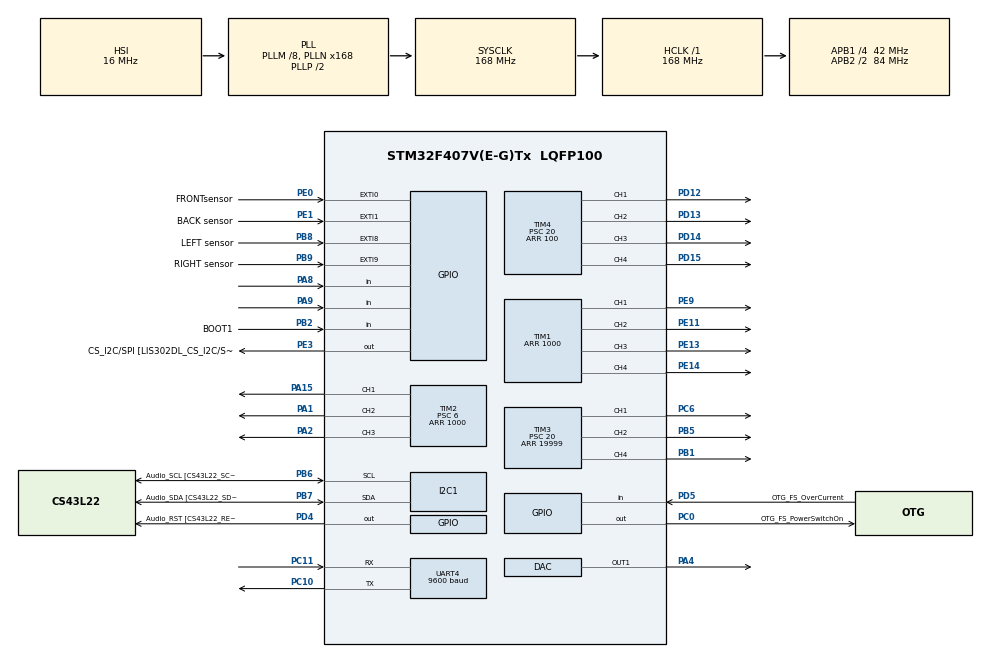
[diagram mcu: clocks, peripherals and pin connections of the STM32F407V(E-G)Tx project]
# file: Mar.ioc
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DAC.DAC_Trigger=DAC_TRIGGER_T6_TRGO
Mcu.Family=STM32F4
Mcu.Name=STM32F407V(E-G)Tx
Mcu.Package=LQFP100
NVIC.EXTI0_IRQn=true\:0\:12\:true\:true\:true\:1\:true
NVIC.EXTI1_IRQn=true\:0\:0\:false\:true\:true\:4\:true
NVIC.EXTI9_5_IRQn=true\:0\:12\:false\:true\:true\:2\:true
NVIC.PriorityGroup=NVIC_PRIORITYGROUP_0
NVIC.TIM1_UP_TIM10_IRQn=true\:0\:0\:false\:false\:true\:true
NVIC.TIM5_IRQn=true\:0\:8\:true\:true\:true\:3\:true
NVIC.TIM6_DAC_IRQn=true\:0\:0\:false\:false\:true\:true
NVIC.TIM7_IRQn=true\:0\:0\:false\:false\:true\:true
PA1.Signal=S_TIM2_CH2
PA10.GPIO_Label=OTG_FS_ID
PA10.GPIO_Mode=GPIO_MODE_AF_PP
PA10.GPIO_PuPd=GPIO_NOPULL
PA10.GPIO_Speed=GPIO_SPEED_FREQ_LOW
PA10.Signal=USB_OTG_FS_ID
PA11.GPIO_Label=OTG_FS_DM
PA11.GPIO_Mode=GPIO_MODE_AF_PP
PA11.GPIO_PuPd=GPIO_NOPULL
PA11.GPIO_Speed=GPIO_SPEED_FREQ_LOW
PA11.Signal=USB_OTG_FS_DM
PA12.GPIO_Label=OTG_FS_DP
PA12.GPIO_Mode=GPIO_MODE_AF_PP
PA12.GPIO_PuPd=GPIO_NOPULL
PA12.GPIO_Speed=GPIO_SPEED_FREQ_LOW
PA12.Signal=USB_OTG_FS_DP
PA13.GPIO_Label=SWDIO
PA13.Signal=SYS_JTMS-SWDIO
PA14.GPIO_Label=SWCLK
PA14.Signal=SYS_JTCK-SWCLK
PA15.Signal=S_TIM2_CH1_ETR
PA2.Signal=S_TIM2_CH3
PA4.Signal=COMP_DAC1_group
PA5.GPIO_Label=SPI1_SCK [LIS302DL_SCL/SPC]
PA5.GPIO_Mode=GPIO_MODE_AF_PP
PA5.GPIO_PuPd=GPIO_NOPULL
PA5.GPIO_Speed=GPIO_SPEED_FREQ_LOW
PA5.Signal=SPI1_SCK
PA6.GPIO_Label=SPI1_MISO [LIS302DL_SDO]
PA6.GPIO_Mode=GPIO_MODE_AF_PP
PA6.GPIO_PuPd=GPIO_NOPULL
PA6.GPIO_Speed=GPIO_SPEED_FREQ_LOW
PA6.Signal=SPI1_MISO
PA7.GPIO_Label=SPI1_MOSI [LIS302DL_SDA/SDI/SDO]
PA7.GPIO_Mode=GPIO_MODE_AF_PP
PA7.GPIO_PuPd=GPIO_NOPULL
PA7.GPIO_Speed=GPIO_SPEED_FREQ_LOW
PA7.Signal=SPI1_MOSI
PA8.GPIO_PuPd=GPIO_PULLDOWN
PA8.Signal=GPIO_Input
PA9.Signal=GPIO_Input
PB1.Signal=S_TIM3_CH4
PB10.GPIO_Label=CLK_IN [MP45DT02_CLK]
PB10.GPIO_Mode=GPIO_MODE_AF_PP
PB10.GPIO_PuPd=GPIO_NOPULL
PB10.GPIO_Speed=GPIO_SPEED_FREQ_LOW
PB10.Signal=I2S2_CK
PB2.GPIO_Label=BOOT1
PB2.GPIO_Mode=GPIO_MODE_INPUT
PB2.GPIO_PuPd=GPIO_NOPULL
PB2.Signal=GPIO_Input
PB5.Signal=S_TIM3_CH2
PB6.GPIO_Label=Audio_SCL [CS43L22_SCL]
PB6.GPIO_Mode=GPIO_MODE_AF_OD
PB6.GPIO_PuPd=GPIO_NOPULL
PB6.GPIO_Speed=GPIO_SPEED_FREQ_HIGH
PB6.Mode=I2C
PB6.Signal=I2C1_SCL
PB7.GPIO_Label=Audio_SDA [CS43L22_SDA]
PB7.GPIO_Mode=GPIO_MODE_AF_OD
PB7.GPIO_Speed=GPIO_SPEED_FREQ_HIGH
PB7.Mode=I2C
PB7.Signal=I2C1_SDA
PB8.GPIO_Label=LEFT sensor
PB8.GPIO_ModeDefaultEXTI=GPIO_MODE_IT_FALLING
PB8.GPIO_PuPd=GPIO_PULLUP
PB8.Signal=GPXTI8
PB9.GPIO_Label=RIGHT sensor
PB9.GPIO_ModeDefaultEXTI=GPIO_MODE_IT_FALLING
PB9.GPIO_PuPd=GPIO_PULLUP
PB9.Signal=GPXTI9
PC0.GPIO_Label=OTG_FS_PowerSwitchOn
PC0.GPIO_PuPd=GPIO_NOPULL
PC0.GPIO_Speed=GPIO_SPEED_FREQ_LOW
PC0.PinState=GPIO_PIN_SET
PC0.Signal=GPIO_Output
PC10.Mode=Asynchronous
PC10.Signal=UART4_TX
PC11.Mode=Asynchronous
PC11.Signal=UART4_RX
PC12.Signal=UART5_TX
PC14-OSC32_IN.GPIO_Label=PC14-OSC32_IN
PC14-OSC32_IN.Signal=RCC_OSC32_IN
PC15-OSC32_OUT.GPIO_Label=PC15-OSC32_OUT
PC15-OSC32_OUT.Signal=RCC_OSC32_OUT
PC3.GPIO_Label=PDM_OUT [MP45DT02_DOUT]
PC3.GPIO_Mode=GPIO_MODE_AF_PP
PC3.GPIO_PuPd=GPIO_NOPULL
PC3.GPIO_Speed=GPIO_SPEED_FREQ_LOW
PC3.Signal=I2S2_SD
PC6.Signal=S_TIM3_CH1
PC7.GPIO_Label=I2S3_MCK [CS43L22_MCLK]
PC7.GPIO_Mode=GPIO_MODE_AF_PP
PC7.GPIO_PuPd=GPIO_NOPULL
PC7.GPIO_Speed=GPIO_SPEED_FREQ_LOW
PC7.Signal=I2S3_MCK
PD12.Signal=S_TIM4_CH1
PD13.Signal=S_TIM4_CH2
PD14.Signal=S_TIM4_CH3
PD15.Signal=S_TIM4_CH4
PD4.GPIO_Label=Audio_RST [CS43L22_RESET]
PD4.GPIO_PuPd=GPIO_NOPULL
PD4.GPIO_Speed=GPIO_SPEED_FREQ_LOW
PD4.Signal=GPIO_Output
PD5.GPIO_Label=OTG_FS_OverCurrent
PD5.GPIO_Mode=GPIO_MODE_INPUT
PD5.GPIO_PuPd=GPIO_NOPULL
PD5.Signal=GPIO_Input
PE0.GPIO_Label=FRONTsensor
PE0.GPIO_ModeDefaultEXTI=GPIO_MODE_IT_FALLING
PE0.GPIO_PuPd=GPIO_PULLUP
PE0.Signal=GPXTI0
PE1.GPIO_Label=BACK sensor
PE1.GPIO_ModeDefaultEXTI=GPIO_MODE_IT_FALLING
PE1.GPIO_PuPd=GPIO_PULLUP
PE1.Signal=GPXTI1
PE11.Signal=S_TIM1_CH2
PE13.Signal=S_TIM1_CH3
PE14.Signal=S_TIM1_CH4
PE3.GPIO_Label=CS_I2C/SPI [LIS302DL_CS_I2C/SPI]
PE3.GPIO_PuPd=GPIO_NOPULL
PE3.GPIO_Speed=GPIO_SPEED_FREQ_LOW
PE3.Signal=GPIO_Output
PE9.Signal=S_TIM1_CH1
PH0-OSC_IN.GPIO_Label=PH0-OSC_IN
PH0-OSC_IN.Signal=RCC_OSC_IN
PH1-OSC_OUT.GPIO_Label=PH1-OSC_OUT
PH1-OSC_OUT.Signal=RCC_OSC_OUT
ProjectManager.HeapSize=0x200
ProjectManager.StackSize=0x400
ProjectManager.TargetToolchain=SW4STM32
RCC.48MHZClocksFreq_Value=48000000
RCC.AHBFreq_Value=168000000
RCC.APB1CLKDivider=RCC_HCLK_DIV4
RCC.APB1Freq_Value=42000000
RCC.APB1TimFreq_Value=84000000
RCC.APB2CLKDivider=RCC_HCLK_DIV2
RCC.APB2Freq_Value=84000000
RCC.APB2TimFreq_Value=168000000
RCC.CortexFreq_Value=168000000
RCC.HCLKFreq_Value=168000000
RCC.HSE_VALUE=8000000
RCC.HSI_VALUE=16000000
RCC.LSE_VALUE=32768
RCC.PLLM=8
RCC.PLLN=168
RCC.PLLQ=7
RCC.SYSCLKFreq_VALUE=168000000
RCC.SYSCLKSource=RCC_SYSCLKSOURCE_PLLCLK
RCC.VCOOutputFreq_Value=336000000
SH.COMP_DAC1_group.0=DAC_OUT1,DAC_OUT1
SH.S_TIM1_CH1.0=TIM1_CH1,PWM Generation1 CH1
SH.S_TIM1_CH2.0=TIM1_CH2,PWM Generation2 CH2
SH.S_TIM1_CH3.0=TIM1_CH3,PWM Generation3 CH3
SH.S_TIM1_CH4.0=TIM1_CH4,PWM Generation4 CH4
SH.S_TIM2_CH1_ETR.0=TIM2_CH1,PWM Generation1 CH1
SH.S_TIM2_CH2.0=TIM2_CH2,PWM Generation2 CH2
SH.S_TIM2_CH3.0=TIM2_CH3,PWM Generation3 CH3
SH.S_TIM3_CH1.0=TIM3_CH1,PWM Generation1 CH1
SH.S_TIM3_CH2.0=TIM3_CH2,PWM Generation2 CH2
SH.S_TIM3_CH4.0=TIM3_CH4,PWM Generation4 CH4
SH.S_TIM4_CH1.0=TIM4_CH1,PWM Generation1 CH1
SH.S_TIM4_CH2.0=TIM4_CH2,PWM Generation2 CH2
SH.S_TIM4_CH3.0=TIM4_CH3,PWM Generation3 CH3
SH.S_TIM4_CH4.0=TIM4_CH4,PWM Generation4 CH4
TIM1.Channel-PWM\ Generation1\ CH1=TIM_CHANNEL_1
TIM1.Channel-PWM\ Generation2\ CH2=TIM_CHANNEL_2
TIM1.Channel-PWM\ Generation3\ CH3=TIM_CHANNEL_3
TIM1.Channel-PWM\ Generation4\ CH4=TIM_CHANNEL_4
TIM1.Period=1000
TIM10.Channel=TIM_CHANNEL_1
TIM10.Period=20999
TIM10.Prescaler=1999
TIM2.Channel-PWM\ Generation1\ CH1=TIM_CHANNEL_1
TIM2.Channel-PWM\ Generation2\ CH2=TIM_CHANNEL_2
TIM2.Channel-PWM\ Generation3\ CH3=TIM_CHANNEL_3
TIM2.ClockDivision=TIM_CLOCKDIVISION_DIV2
TIM2.Period=1000
TIM2.Prescaler=6
TIM3.Channel-PWM\ Generation1\ CH1=TIM_CHANNEL_1
TIM3.Channel-PWM\ Generation2\ CH2=TIM_CHANNEL_2
TIM3.Channel-PWM\ Generation4\ CH4=TIM_CHANNEL_4
TIM3.Period=19999
TIM3.Prescaler=20
TIM4.Channel-PWM\ Generation1\ CH1=TIM_CHANNEL_1
TIM4.Channel-PWM\ Generation2\ CH2=TIM_CHANNEL_2
TIM4.Channel-PWM\ Generation3\ CH3=TIM_CHANNEL_3
TIM4.Channel-PWM\ Generation4\ CH4=TIM_CHANNEL_4
TIM4.Period=100
TIM4.Prescaler=20
TIM5.Channel-Output\ Compare1\ No\ Output=TIM_CHANNEL_1
TIM5.Channel-Output\ Compare4\ No\ Output=TIM_CHANNEL_4
TIM5.OCMode_1=TIM_OCMODE_ACTIVE
TIM5.Period=100
TIM5.Prescaler=20
TIM5.Pulse-Output\ Compare1\ No\ Output=0
TIM6.Period=37
TIM6.Prescaler=99
TIM6.TIM_MasterOutputTrigger=TIM_TRGO_UPDATE
TIM7.Period=8399
TIM7.Prescaler=1999
TIM7.TIM_MasterOutputTrigger=TIM_TRGO_UPDATE
UART4.BaudRate=9600
UART4.VirtualMode=Asynchronous
VP_TIM10_VS_ClockSourceINT.Mode=Enable_Timer
VP_TIM10_VS_no_output1.Mode=Output Compare1 No Output
VP_TIM5_VS_ClockSourceINT.Mode=Internal
VP_TIM5_VS_no_output1.Mode=Output Compare1 No Output
VP_TIM5_VS_no_output4.Mode=Output Compare4 No Output
VP_TIM6_VS_ClockSourceINT.Mode=Enable_Timer
VP_TIM7_VS_ClockSourceINT.Mode=Enable_Timer
board=STM32F4DISCOVERY

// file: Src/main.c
/**
  ******************************************************************************
  * File Name          : main.c
  * Description        : Main program body
  ******************************************************************************
  ** This notice applies to any and all portions of this file
  * that are not between comment pairs USER CODE BEGIN and
  * USER CODE END. Other portions of this file, whether
  * inserted by the user or by software development tools
  * are owned by their respective copyright owners.
  *
  * COPYRIGHT(c) 2017 STMicroelectronics
  *
  * Redistribution and use in source and binary forms, with or without modification,
  * are permitted provided that the following conditions are met:
  *   1. Redistributions of source code must retain the above copyright notice,
  *      this list of conditions and the following disclaimer.
  *   2. Redistributions in binary form must reproduce the above copyright notice,
  *      this list of conditions and the following disclaimer in the documentation
  *      and/or other materials provided with the distribution.
  *   3. Neither the name of STMicroelectronics nor the names of its contributors
  *      may be used to endorse or promote products derived from this software
  *      without specific prior written permission.
  *
  * THIS SOFTWARE IS PROVIDED BY THE COPYRIGHT HOLDERS AND CONTRIBUTORS "AS IS"
  * AND ANY EXPRESS OR IMPLIED WARRANTIES, INCLUDING, BUT NOT LIMITED TO, THE
  * IMPLIED WARRANTIES OF MERCHANTABILITY AND FITNESS FOR A PARTICULAR PURPOSE ARE
  * DISCLAIMED. IN NO EVENT SHALL THE COPYRIGHT HOLDER OR CONTRIBUTORS BE LIABLE
  * FOR ANY DIRECT, INDIRECT, INCIDENTAL, SPECIAL, EXEMPLARY, OR CONSEQUENTIAL
  * DAMAGES (INCLUDING, BUT NOT LIMITED TO, PROCUREMENT OF SUBSTITUTE GOODS OR
  * SERVICES; LOSS OF USE, DATA, OR PROFITS; OR BUSINESS INTERRUPTION) HOWEVER
  * CAUSED AND ON ANY THEORY OF LIABILITY, WHETHER IN CONTRACT, STRICT LIABILITY,
  * OR TORT (INCLUDING NEGLIGENCE OR OTHERWISE) ARISING IN ANY WAY OUT OF THE USE
  * OF THIS SOFTWARE, EVEN IF ADVISED OF THE POSSIBILITY OF SUCH DAMAGE.
  *
  ******************************************************************************
  */
#include "main.h"
#include "stm32f4xx_hal.h"

/* USER CODE BEGIN Includes */
#include "string.h"
#include "Losing_1_Notes_8bit.h"
#include "Losing_2_Notes_8bit.h"
#include "Winner_Notes_8bit.h"
#include "Shoot_2_Notes_8bit.h"
#define DATA_SIZE  83225
#define DATA1_SIZE 59806
#define DATA2_SIZE 133964
#define DATA3_SIZE 9792

/* USER CODE END Includes */

DAC_HandleTypeDef hdac;

I2C_HandleTypeDef hi2c1;

TIM_HandleTypeDef htim1;
TIM_HandleTypeDef htim2;
TIM_HandleTypeDef htim3;
TIM_HandleTypeDef htim4;
TIM_HandleTypeDef htim5;
TIM_HandleTypeDef htim6;
TIM_HandleTypeDef htim7;
TIM_HandleTypeDef htim10;

UART_HandleTypeDef huart4;

/* USER CODE BEGIN PV */
/* Private variables ---------------------------------------------------------*/

int h= 50;  // global health
int i1 = 0; // global counter for hit registered
int gamerun = 1;
char health[4] ;
int LED_on = 0;
int LED_counter = 0;
int value = 0;
extern uint8_t data[DATA_SIZE];
extern uint8_t data1[DATA1_SIZE];
extern uint8_t data2[DATA2_SIZE];
extern uint8_t data3[DATA3_SIZE];
long j = 0; //counter for audio file data
long j_one = 0; //counter for audio file data1
long j2 = 0; //counter for audio file data2
long j3 = 0; //counter for audio file data3
int speaker_flag = 0; //flag for the speaker
int winner = 0; //flag for winner or loser of the game
int k = 0;
int transmit_counter = 0;
/* USER CODE END PV */

void SystemClock_Config(void);
static void MX_GPIO_Init(void);
static void MX_TIM2_Init(void);
static void MX_TIM1_Init(void);
static void MX_TIM3_Init(void);
static void MX_TIM4_Init(void);
static void MX_DAC_Init(void);
static void MX_TIM5_Init(void);
static void MX_TIM6_Init(void);
static void MX_UART4_Init(void);
static void MX_I2C1_Init(void);
static void MX_TIM7_Init(void);
static void MX_TIM10_Init(void);
static void MX_NVIC_Init(void);

void HAL_TIM_MspPostInit(TIM_HandleTypeDef *htim);

/* USER CODE BEGIN PFP */
/* Private function prototypes -----------------------------------------------*/
void UartHandler(char[10]);

void motorroutine (int,int);
void turretroutine(int);
void shoot(int);
void endgame(int);
void hitregister(int);
void ledroutine(int);
void LCDroutine(int);
void speaker(int);
void start(void);
void rst(void);
void transmit(void);
void lcd_send_data (char data);
void lcd_init (void);
void lcd_send_string (char *str);
void lcd_send_cmd (char cmd);

/* USER CODE END PFP */

/* USER CODE BEGIN 0 */

void transmit (void){
    HAL_UART_Transmit(&huart4,(uint8_t *)health, 3,50);
    lcd_send_cmd (0x01);
    HAL_Delay(2);
    lcd_send_cmd (0x80);
  //  HAL_Delay(2);
    lcd_send_string ("MARIO");
   // HAL_Delay(2);
    lcd_send_cmd (0xc0);
                for(int b = 0;b < h/5 ; b++){

              lcd_send_data (0xff);
                    }
                lcd_send_cmd (0x94);
                for(int b = 0;b < h/5 ; b++){

                    lcd_send_data (0xff);
                    }

                      lcd_send_cmd (0xd4);
                      lcd_send_string (health);

}
// UART handler. Detect command and call functions for the various motions
void UartHandler(char data[10]){
    int angle;

    // forward
    if ( data[0] == 70 && data[1] == 49){
        motorroutine(1,1);

    }else  if ( data[0] == 70 && data[1] == 48){
        motorroutine(1,0);
// angle
    }else if ( data[0] == 65){
        int a1 = data[1] - 48;
        int a2 = data[2]- 48;
        int a3 = data[3]-48 ;
        angle = a1*100 + a2*10 + a3;
       if(angle < 180){
        turretroutine(angle);
       }else if( angle == 361){

           value = 0;
           endgame(value);
           speaker(2);
       }
// back
    }else if ( data[0] == 66 && data[1] == 49){
        motorroutine(2,1);
    }else if ( data[0] == 66 && data[1] == 48){
        motorroutine(2,0);
// left
    }else if ( data[0] == 76 && data[1] == 49){
        motorroutine(3,1);
    }else if ( data[0] == 76 && data[1] == 48){
        motorroutine(3,0);
 // right
    }else if ( data[0] == 82 && data[1] == 49){
        motorroutine(4,1);
    }else if ( data[0] == 82 && data[1] == 48){
        motorroutine(4,0);
// turret right

    }else if( data[0] == 84 && data [1]== 82 && data[2]== 49){
        angle -= 1;
        turretroutine(angle);
// Turret Left
    }else if( data[0] == 84 && data [1]== 76 && data[2]== 49){
        angle += 1;
        turretroutine(angle);
// Shoot
    }else if( data[0]== 83 && data[1] == 49){

        shoot(1);
    }else if(data[0] == 83 && data[1] == 48){
        shoot(0);
    }else if (data[0] ==83 && data[1] == 84 && data[2] == 49){
        start();
    }
    else if (data[0] ==82 && data[1] == 83 && data[2] == 84){
    rst();
}
}

// take two values ( direction / value) 1 - front 2-back 3-left 4-right
// timer channel 1 -4
/* left forward – pe9 – tim1ch1
    Left reverse pe11- tim1ch2
    Right forward pe13-tim1ch3
    Right reverse pe14- tim1ch4
 * MAX pulse = 1000
 */
void motorroutine(int direction, int value){
if (gamerun){
   if(direction == 1 && value == 1){
       htim1.Instance->CCR1 = 1000; // set timer1 channel 1 duty cycle to high
       htim1.Instance->CCR3 = 1000;

   }if(direction == 1 && value ==0){
       htim1.Instance->CCR1 = 0; // set timer1 channel 1 duty cycle to high
       htim1.Instance->CCR3 = 0;
   }

   if(direction == 2 && value == 1){
       htim1.Instance->CCR2 = 1000; // set timer1 channel 1 duty cycle to high
       htim1.Instance->CCR4 = 1000;

   }if(direction == 2 && value ==0){
       htim1.Instance->CCR2 = 0; // set timer1 channel 1 duty cycle to high
       htim1.Instance->CCR4 = 0;
   }
   if(direction == 3 && value == 1){
       htim1.Instance->CCR2 = 1000; // set timer1 channel 1 duty cycle to high
       htim1.Instance->CCR3 = 1000;

   }if(direction == 3 && value ==0){
       htim1.Instance->CCR2 = 0; // set timer1 channel 1 duty cycle to high
       htim1.Instance->CCR3 = 0;
   }
   if(direction == 4 && value == 1){
       htim1.Instance->CCR1 = 1000; // set timer1 channel 1 duty cycle to high
       htim1.Instance->CCR4 = 1000;

   }if(direction == 4 && value ==0){
       htim1.Instance->CCR1 = 0; // set timer1 channel 1 duty cycle to high
       htim1.Instance->CCR4 = 0;
   }
   if(direction == 1 && value == 1){
       htim1.Instance->CCR1 = 1000; // set timer1 channel 1 duty cycle to high
       htim1.Instance->CCR3 = 1000;

   }if(direction == 1 && value ==0){
       htim1.Instance->CCR1 = 0; // set timer1 channel 1 duty cycle to high
       htim1.Instance->CCR3 = 0;
   }
}
}
// Take angle value set PWM duty Cycle to the angle number
// MAX pulse = 360*5
// timer 3 ch1
void turretroutine(int angle){
    if(gamerun){

        TIM3->CCR4 = 20000 - (500 + angle*45);
}
}
// take value 1/0 to register hit set IR blaster and start game logic
//PB3 GPIO
//
void shoot(int value){
    if(value){
    TIM3->CCR2 = 10000;
    HAL_Delay (500);
    TIM3->CCR2 = 0;
}
}
// start engame routine
void endgame(int v){
if(v){
    gamerun = 0;
    winner = 0;
}
else{
    gamerun = 0;
    winner = 1;
}
HAL_TIM_Base_Start_IT(&htim10);
if(LED_counter >= 12){
    HAL_TIM_Base_Stop_IT(&htim10);
    LED_counter = 0;
}
}
// detect hit routine
void hitregister(int location){

       i1 += location;
       if(i1 > 25){
       h--;

       i1 =0;

       if(h < 0){
        h = 0;
       }

       }

}
// set LED pwm Channels based on health?
// timer 2 channel 1,2,3
// max pulse = 1000
// led reach max color by ~ 650
void ledroutine(int health){

    htim4.Instance->CCR1 = 1000 - 10*h;
    htim4.Instance->CCR2 = 10*h;
    htim4.Instance->CCR3 = 1000;
//

}
// Set LCD data to health
void lcd_send_cmd (char cmd)
{
  char data_u, data_l;
    uint8_t data_t[4];
    data_u = cmd&0xf0;
    data_l = (cmd<<4)&0xf0;
    data_t[0] = data_u|0x04;  //en=1, rs=0
    data_t[1] = data_u;  //en=0, rs=0
    data_t[2] = data_l|0x04;  //en=1, rs=0
    data_t[3] = data_l;  //en=0, rs=0
    HAL_I2C_Master_Transmit (&hi2c1, 0x4E,(uint8_t *) data_t, 4, 100);
}
void lcd_send_data (char data)
{
    char data_u, data_l;
    uint8_t data_t[4];
    data_u = data&0xf0;
    data_l = (data<<4)&0xf0;
    data_t[0] = data_u|0x05;  //en=1, rs=0
    data_t[1] = data_u|0x01;  //en=0, rs=0
    data_t[2] = data_l|0x05;  //en=1, rs=0
    data_t[3] = data_l|0x01;  //en=0, rs=0
    HAL_I2C_Master_Transmit (&hi2c1, 0x4E,(uint8_t *) data_t, 4, 100);
}
void lcd_init (void)
{
  //
    lcd_send_cmd (0x02);
    lcd_send_cmd (0x28);
    lcd_send_cmd (0x0c);
    lcd_send_cmd (0x80);
}
void lcd_send_string (char *str)
{
    while (*str) lcd_send_data (*str++);
}
void LCDroutine(int health){

}
// play tunes
void speaker(int tone){
  if(!tone){
    HAL_TIM_Base_Start_IT(&htim6);
    speaker_flag = 0;
    if((j >= DATA_SIZE) && (j_one >= DATA1_SIZE)){
      HAL_TIM_Base_Stop_IT(&htim6);
      j = 0;
      j_one = 0;
    }
  }
  else if(tone == 1){
      HAL_TIM_Base_Start_IT(&htim6);
      speaker_flag = 1;
      if(j3 >= DATA3_SIZE){
          HAL_TIM_Base_Stop_IT(&htim6);
          j3 = 0;
      }
  }
  else if(tone == 2){
      HAL_TIM_Base_Start_IT(&htim6);
      speaker_flag = 2;
      if(j2 >= DATA2_SIZE){
          HAL_TIM_Base_Stop_IT(&htim6);
          j2 = 0;
      }
  }

}
void start(){
   if (gamerun){
    h = 0;
 // char health[3] = "000";

    value = 1;
    speaker(0);
    endgame(value);
    gamerun = 0;
   }

}
void rst(){
    if (!gamerun){
        gamerun = 1;
        h = 100;
    }else if(gamerun){
         //   gamerun = 0;
            transmit();

            start();

        }

}
void HAL_TIM_PeriodElapsedCallback(TIM_HandleTypeDef *htim){

  if(htim->Instance == TIM6){
      if(!speaker_flag){

        if(j_one < DATA1_SIZE){
            HAL_DAC_SetValue(&hdac, DAC_CHANNEL_1, DAC_ALIGN_8B_R, data1[j_one]);
            j_one++;
        }
        else if(j < DATA_SIZE){
            HAL_DAC_SetValue(&hdac, DAC_CHANNEL_1, DAC_ALIGN_8B_R, data[j]);
            j++;
        }
      }
      else if(speaker_flag == 1){
          if(k > 1){
              if(j3 < DATA3_SIZE){
            HAL_DAC_SetValue(&hdac, DAC_CHANNEL_1, DAC_ALIGN_8B_R, data3[j3]);
            j3++;
              }
              k = 0;
          }
          k++;
      }
      else if(speaker_flag == 2){
          if(j2 < DATA2_SIZE){
              HAL_DAC_SetValue(&hdac, DAC_CHANNEL_1, DAC_ALIGN_8B_R, data2[j2]);
              j2++;
          }
      }
  }
  else if(htim->Instance == TIM10){
      if(!winner){
          if(LED_counter < 12){
              if(!LED_on)
                  LED_on = 1000;
              else if(LED_on == 1000)
                  LED_on = 0;
              htim4.Instance->CCR1 = LED_on;
              LED_counter++;
          }
      }
      else{
          if(LED_counter < 12){
              if(!LED_on)
                LED_on = 1000;
              else if(LED_on == 1000)
                LED_on = 0;
              htim4.Instance->CCR2 = LED_on;
              LED_counter++;
          }
      }
  }else if(htim-> Instance == TIM7){

  }

}

/* USER CODE END 0 */

int main(void)
{

  /* USER CODE BEGIN 1 */

  // Heath char
    char recieve[10]; // recieve data
  /* USER CODE END 1 */

  /* MCU Configuration----------------------------------------------------------*/

  /* Reset of all peripherals, Initializes the Flash interface and the Systick. */
  HAL_Init();

  /* Configure the system clock */
  SystemClock_Config();

  /* Initialize all configured peripherals */
  MX_GPIO_Init();
  MX_TIM2_Init();
  MX_TIM1_Init();
  MX_TIM3_Init();
  MX_TIM4_Init();
  MX_DAC_Init();
  MX_TIM5_Init();
  MX_TIM6_Init();
  MX_UART4_Init();
  MX_I2C1_Init();
  MX_TIM7_Init();
  MX_TIM10_Init();

  /* Initialize interrupts */
  MX_NVIC_Init();

  /* USER CODE BEGIN 2 */

  int prevh = 0;
  // timer starts
  HAL_TIM_PWM_Start(&htim2 , TIM_CHANNEL_1);
  HAL_TIM_PWM_Start(&htim2 , TIM_CHANNEL_2);
  HAL_TIM_PWM_Start(&htim2 , TIM_CHANNEL_3);
  HAL_TIM_PWM_Start(&htim1 , TIM_CHANNEL_1);
  HAL_TIM_PWM_Start(&htim1 , TIM_CHANNEL_2);
  HAL_TIM_PWM_Start(&htim1 , TIM_CHANNEL_3);
  HAL_TIM_PWM_Start(&htim1 , TIM_CHANNEL_4);
  HAL_TIM_PWM_Start(&htim3 , TIM_CHANNEL_4);
  HAL_TIM_PWM_Start(&htim3 , TIM_CHANNEL_2);
  HAL_TIM_PWM_Start(&htim4 , TIM_CHANNEL_1);
  HAL_TIM_PWM_Start(&htim4 , TIM_CHANNEL_2);
  HAL_TIM_PWM_Start(&htim4 , TIM_CHANNEL_3);
 // HAL_TIM_OC_Start_IT(&htim5,   TIM_CHANNEL_1);

 // HAL_NVIC_EnableIRQ(TIM5_IRQn);

  HAL_TIM_Base_Start(&htim6);
  HAL_TIM_Base_Start(&htim7);
  HAL_TIM_Base_Start(&htim10);
  HAL_DAC_Start(&hdac,DAC_CHANNEL_1);
//    HAL_DAC_Start_DMA(&amp;hdac, DAC_CHANNEL_1, (uint32_t*)sine_wave_array, 32, DAC_ALIGN_12B_R);

  char prevrec[10];
  int i=0;
  int j=0;
    lcd_init ();
   HAL_TIM_Base_Start_IT(&htim7);

   // lcd_send_string ("MARIO");

    //lcd_send_cmd (0x01);
  /* USER CODE END 2 */

  /* Infinite loop */
  while (1)
  {

  /* USER CODE BEGIN 3 */

    // HAL_Delay(20000);

           // strcpy(recieve,prevrec);
            if (prevh != h){
            int b1 = h/100;
            int b2 = h/10 - b1*10 ;
            int b3 = h - b1*100 - b2*10;

            health[0] = (char)b1 +48;

            health[1] = (char)b2 +48;

            health[2] = (char)b3+48 ;
           health[3]= 10;
            speaker(1);

        //    ledroutine(h);
     //
      //  lcd_send_string ("MARIO");
            ledroutine(h);
            transmit();

            prevh = h;
            if (h<=0){
                h = 0;
                gamerun = 0;
                value = 1;
                endgame(value);
                speaker(0);
            }

            }

    //UART RECIEVE

          HAL_UART_Receive(&huart4,(uint8_t *)recieve, 10,50);
 if(strcmp(recieve,prevrec)){
   UartHandler(recieve);
   strcpy(recieve,prevrec);

  }
 i++;

  }

  /* USER CODE END 3 */

}

/** System Clock Configuration
*/
void SystemClock_Config(void)
{

  RCC_OscInitTypeDef RCC_OscInitStruct;
  RCC_ClkInitTypeDef RCC_ClkInitStruct;

    /**Configure the main internal regulator output voltage
    */
  __HAL_RCC_PWR_CLK_ENABLE();

  __HAL_PWR_VOLTAGESCALING_CONFIG(PWR_REGULATOR_VOLTAGE_SCALE1);

    /**Initializes the CPU, AHB and APB busses clocks
    */
  RCC_OscInitStruct.OscillatorType = RCC_OSCILLATORTYPE_HSI;
  RCC_OscInitStruct.HSIState = RCC_HSI_ON;
  RCC_OscInitStruct.HSICalibrationValue = 16;
  RCC_OscInitStruct.PLL.PLLState = RCC_PLL_ON;
  RCC_OscInitStruct.PLL.PLLSource = RCC_PLLSOURCE_HSI;
  RCC_OscInitStruct.PLL.PLLM = 8;
  RCC_OscInitStruct.PLL.PLLN = 168;
  RCC_OscInitStruct.PLL.PLLP = RCC_PLLP_DIV2;
  RCC_OscInitStruct.PLL.PLLQ = 7;
  if (HAL_RCC_OscConfig(&RCC_OscInitStruct) != HAL_OK)
  {
    _Error_Handler(__FILE__, __LINE__);
  }

    /**Initializes the CPU, AHB and APB busses clocks
    */
  RCC_ClkInitStruct.ClockType = RCC_CLOCKTYPE_HCLK|RCC_CLOCKTYPE_SYSCLK
                              |RCC_CLOCKTYPE_PCLK1|RCC_CLOCKTYPE_PCLK2;
  RCC_ClkInitStruct.SYSCLKSource = RCC_SYSCLKSOURCE_PLLCLK;
  RCC_ClkInitStruct.AHBCLKDivider = RCC_SYSCLK_DIV1;
  RCC_ClkInitStruct.APB1CLKDivider = RCC_HCLK_DIV4;
  RCC_ClkInitStruct.APB2CLKDivider = RCC_HCLK_DIV2;

  if (HAL_RCC_ClockConfig(&RCC_ClkInitStruct, FLASH_LATENCY_5) != HAL_OK)
  {
    _Error_Handler(__FILE__, __LINE__);
  }

    /**Configure the Systick interrupt time
    */
  HAL_SYSTICK_Config(HAL_RCC_GetHCLKFreq()/1000);

    /**Configure the Systick
    */
  HAL_SYSTICK_CLKSourceConfig(SYSTICK_CLKSOURCE_HCLK);

  /* SysTick_IRQn interrupt configuration */
  HAL_NVIC_SetPriority(SysTick_IRQn, 0, 0);
}

/** NVIC Configuration
*/
static void MX_NVIC_Init(void)
{
  /* EXTI0_IRQn interrupt configuration */
  HAL_NVIC_SetPriority(EXTI0_IRQn, 0, 12);
  HAL_NVIC_EnableIRQ(EXTI0_IRQn);
  /* EXTI9_5_IRQn interrupt configuration */
  HAL_NVIC_SetPriority(EXTI9_5_IRQn, 0, 12);
  HAL_NVIC_EnableIRQ(EXTI9_5_IRQn);
  /* TIM5_IRQn interrupt configuration */
  HAL_NVIC_SetPriority(TIM5_IRQn, 0, 8);
  HAL_NVIC_EnableIRQ(TIM5_IRQn);
  /* EXTI1_IRQn interrupt configuration */
  HAL_NVIC_SetPriority(EXTI1_IRQn, 0, 0);
  HAL_NVIC_EnableIRQ(EXTI1_IRQn);
}

/* DAC init function */
static void MX_DAC_Init(void)
{

  DAC_ChannelConfTypeDef sConfig;

    /**DAC Initialization
    */
  hdac.Instance = DAC;
  if (HAL_DAC_Init(&hdac) != HAL_OK)
  {
    _Error_Handler(__FILE__, __LINE__);
  }

    /**DAC channel OUT1 config
    */
  sConfig.DAC_Trigger = DAC_TRIGGER_T6_TRGO;
  sConfig.DAC_OutputBuffer = DAC_OUTPUTBUFFER_ENABLE;
  if (HAL_DAC_ConfigChannel(&hdac, &sConfig, DAC_CHANNEL_1) != HAL_OK)
  {
    _Error_Handler(__FILE__, __LINE__);
  }

}

/* I2C1 init function */
static void MX_I2C1_Init(void)
{

  hi2c1.Instance = I2C1;
  hi2c1.Init.ClockSpeed = 100000;
  hi2c1.Init.DutyCycle = I2C_DUTYCYCLE_2;
  hi2c1.Init.OwnAddress1 = 0;
  hi2c1.Init.AddressingMode = I2C_ADDRESSINGMODE_7BIT;
  hi2c1.Init.DualAddressMode = I2C_DUALADDRESS_DISABLE;
  hi2c1.Init.OwnAddress2 = 0;
  hi2c1.Init.GeneralCallMode = I2C_GENERALCALL_DISABLE;
  hi2c1.Init.NoStretchMode = I2C_NOSTRETCH_DISABLE;
  if (HAL_I2C_Init(&hi2c1) != HAL_OK)
  {
    _Error_Handler(__FILE__, __LINE__);
  }

}

/* TIM1 init function */
static void MX_TIM1_Init(void)
{

  TIM_MasterConfigTypeDef sMasterConfig;
  TIM_OC_InitTypeDef sConfigOC;
  TIM_BreakDeadTimeConfigTypeDef sBreakDeadTimeConfig;

  htim1.Instance = TIM1;
  htim1.Init.Prescaler = 0;
  htim1.Init.CounterMode = TIM_COUNTERMODE_UP;
  htim1.Init.Period = 1000;
  htim1.Init.ClockDivision = TIM_CLOCKDIVISION_DIV1;
  htim1.Init.RepetitionCounter = 0;
  if (HAL_TIM_PWM_Init(&htim1) != HAL_OK)
  {
    _Error_Handler(__FILE__, __LINE__);
  }

  sMasterConfig.MasterOutputTrigger = TIM_TRGO_RESET;
  sMasterConfig.MasterSlaveMode = TIM_MASTERSLAVEMODE_DISABLE;
  if (HAL_TIMEx_MasterConfigSynchronization(&htim1, &sMasterConfig) != HAL_OK)
  {
    _Error_Handler(__FILE__, __LINE__);
  }

  sConfigOC.OCMode = TIM_OCMODE_PWM1;
  sConfigOC.Pulse = 0;
  sConfigOC.OCPolarity = TIM_OCPOLARITY_HIGH;
  sConfigOC.OCNPolarity = TIM_OCNPOLARITY_HIGH;
  sConfigOC.OCFastMode = TIM_OCFAST_DISABLE;
  sConfigOC.OCIdleState = TIM_OCIDLESTATE_RESET;
  sConfigOC.OCNIdleState = TIM_OCNIDLESTATE_RESET;
  if (HAL_TIM_PWM_ConfigChannel(&htim1, &sConfigOC, TIM_CHANNEL_1) != HAL_OK)
  {
    _Error_Handler(__FILE__, __LINE__);
  }

  if (HAL_TIM_PWM_ConfigChannel(&htim1, &sConfigOC, TIM_CHANNEL_2) != HAL_OK)
  {
    _Error_Handler(__FILE__, __LINE__);
  }

  if (HAL_TIM_PWM_ConfigChannel(&htim1, &sConfigOC, TIM_CHANNEL_3) != HAL_OK)
  {
    _Error_Handler(__FILE__, __LINE__);
  }

  if (HAL_TIM_PWM_ConfigChannel(&htim1, &sConfigOC, TIM_CHANNEL_4) != HAL_OK)
  {
    _Error_Handler(__FILE__, __LINE__);
  }

  sBreakDeadTimeConfig.OffStateRunMode = TIM_OSSR_DISABLE;
  sBreakDeadTimeConfig.OffStateIDLEMode = TIM_OSSI_DISABLE;
  sBreakDeadTimeConfig.LockLevel = TIM_LOCKLEVEL_OFF;
  sBreakDeadTimeConfig.DeadTime = 0;
  sBreakDeadTimeConfig.BreakState = TIM_BREAK_DISABLE;
  sBreakDeadTimeConfig.BreakPolarity = TIM_BREAKPOLARITY_HIGH;
  sBreakDeadTimeConfig.AutomaticOutput = TIM_AUTOMATICOUTPUT_DISABLE;
  if (HAL_TIMEx_ConfigBreakDeadTime(&htim1, &sBreakDeadTimeConfig) != HAL_OK)
  {
    _Error_Handler(__FILE__, __LINE__);
  }

  HAL_TIM_MspPostInit(&htim1);

}

/* TIM2 init function */
static void MX_TIM2_Init(void)
{

  TIM_MasterConfigTypeDef sMasterConfig;
  TIM_OC_InitTypeDef sConfigOC;

  htim2.Instance = TIM2;
  htim2.Init.Prescaler = 6;
  htim2.Init.CounterMode = TIM_COUNTERMODE_UP;
  htim2.Init.Period = 1000;
  htim2.Init.ClockDivision = TIM_CLOCKDIVISION_DIV2;
  if (HAL_TIM_PWM_Init(&htim2) != HAL_OK)
  {
    _Error_Handler(__FILE__, __LINE__);
  }

  sMasterConfig.MasterOutputTrigger = TIM_TRGO_RESET;
  sMasterConfig.MasterSlaveMode = TIM_MASTERSLAVEMODE_DISABLE;
  if (HAL_TIMEx_MasterConfigSynchronization(&htim2, &sMasterConfig) != HAL_OK)
  {
    _Error_Handler(__FILE__, __LINE__);
  }

  sConfigOC.OCMode = TIM_OCMODE_PWM1;
  sConfigOC.Pulse = 0;
  sConfigOC.OCPolarity = TIM_OCPOLARITY_HIGH;
  sConfigOC.OCFastMode = TIM_OCFAST_DISABLE;
  if (HAL_TIM_PWM_ConfigChannel(&htim2, &sConfigOC, TIM_CHANNEL_1) != HAL_OK)
  {
    _Error_Handler(__FILE__, __LINE__);
  }

  if (HAL_TIM_PWM_ConfigChannel(&htim2, &sConfigOC, TIM_CHANNEL_2) != HAL_OK)
  {
    _Error_Handler(__FILE__, __LINE__);
  }

  if (HAL_TIM_PWM_ConfigChannel(&htim2, &sConfigOC, TIM_CHANNEL_3) != HAL_OK)
  {
    _Error_Handler(__FILE__, __LINE__);
  }

  HAL_TIM_MspPostInit(&htim2);

}

/* TIM3 init function */
static void MX_TIM3_Init(void)
{

  TIM_MasterConfigTypeDef sMasterConfig;
  TIM_OC_InitTypeDef sConfigOC;

  htim3.Instance = TIM3;
  htim3.Init.Prescaler = 20;
  htim3.Init.CounterMode = TIM_COUNTERMODE_UP;
  htim3.Init.Period = 19999;
  htim3.Init.ClockDivision = TIM_CLOCKDIVISION_DIV1;
  if (HAL_TIM_PWM_Init(&htim3) != HAL_OK)
  {
    _Error_Handler(__FILE__, __LINE__);
  }

  sMasterConfig.MasterOutputTrigger = TIM_TRGO_RESET;
  sMasterConfig.MasterSlaveMode = TIM_MASTERSLAVEMODE_DISABLE;
  if (HAL_TIMEx_MasterConfigSynchronization(&htim3, &sMasterConfig) != HAL_OK)
  {
    _Error_Handler(__FILE__, __LINE__);
  }

  sConfigOC.OCMode = TIM_OCMODE_PWM1;
  sConfigOC.Pulse = 0;
  sConfigOC.OCPolarity = TIM_OCPOLARITY_HIGH;
  sConfigOC.OCFastMode = TIM_OCFAST_DISABLE;
  if (HAL_TIM_PWM_ConfigChannel(&htim3, &sConfigOC, TIM_CHANNEL_1) != HAL_OK)
  {
    _Error_Handler(__FILE__, __LINE__);
  }

  if (HAL_TIM_PWM_ConfigChannel(&htim3, &sConfigOC, TIM_CHANNEL_2) != HAL_OK)
  {
    _Error_Handler(__FILE__, __LINE__);
  }

  if (HAL_TIM_PWM_ConfigChannel(&htim3, &sConfigOC, TIM_CHANNEL_4) != HAL_OK)
  {
    _Error_Handler(__FILE__, __LINE__);
  }

  HAL_TIM_MspPostInit(&htim3);

}

/* TIM4 init function */
static void MX_TIM4_Init(void)
{

  TIM_MasterConfigTypeDef sMasterConfig;
  TIM_OC_InitTypeDef sConfigOC;

  htim4.Instance = TIM4;
  htim4.Init.Prescaler = 20;
  htim4.Init.CounterMode = TIM_COUNTERMODE_UP;
  htim4.Init.Period = 100;
  htim4.Init.ClockDivision = TIM_CLOCKDIVISION_DIV1;
  if (HAL_TIM_PWM_Init(&htim4) != HAL_OK)
  {
    _Error_Handler(__FILE__, __LINE__);
  }

  sMasterConfig.MasterOutputTrigger = TIM_TRGO_RESET;
  sMasterConfig.MasterSlaveMode = TIM_MASTERSLAVEMODE_DISABLE;
  if (HAL_TIMEx_MasterConfigSynchronization(&htim4, &sMasterConfig) != HAL_OK)
  {
    _Error_Handler(__FILE__, __LINE__);
  }

  sConfigOC.OCMode = TIM_OCMODE_PWM1;
  sConfigOC.Pulse = 0;
  sConfigOC.OCPolarity = TIM_OCPOLARITY_HIGH;
  sConfigOC.OCFastMode = TIM_OCFAST_DISABLE;
  if (HAL_TIM_PWM_ConfigChannel(&htim4, &sConfigOC, TIM_CHANNEL_1) != HAL_OK)
  {
    _Error_Handler(__FILE__, __LINE__);
  }

  if (HAL_TIM_PWM_ConfigChannel(&htim4, &sConfigOC, TIM_CHANNEL_2) != HAL_OK)
  {
    _Error_Handler(__FILE__, __LINE__);
  }

  if (HAL_TIM_PWM_ConfigChannel(&htim4, &sConfigOC, TIM_CHANNEL_3) != HAL_OK)
  {
    _Error_Handler(__FILE__, __LINE__);
  }

  if (HAL_TIM_PWM_ConfigChannel(&htim4, &sConfigOC, TIM_CHANNEL_4) != HAL_OK)
  {
    _Error_Handler(__FILE__, __LINE__);
  }

  HAL_TIM_MspPostInit(&htim4);

}

/* TIM5 init function */
static void MX_TIM5_Init(void)
{

  TIM_ClockConfigTypeDef sClockSourceConfig;
  TIM_MasterConfigTypeDef sMasterConfig;
  TIM_OC_InitTypeDef sConfigOC;

  htim5.Instance = TIM5;
  htim5.Init.Prescaler = 20;
  htim5.Init.CounterMode = TIM_COUNTERMODE_UP;
  htim5.Init.Period = 100;
  htim5.Init.ClockDivision = TIM_CLOCKDIVISION_DIV1;
  if (HAL_TIM_Base_Init(&htim5) != HAL_OK)
  {
    _Error_Handler(__FILE__, __LINE__);
  }

  sClockSourceConfig.ClockSource = TIM_CLOCKSOURCE_INTERNAL;
  if (HAL_TIM_ConfigClockSource(&htim5, &sClockSourceConfig) != HAL_OK)
  {
    _Error_Handler(__FILE__, __LINE__);
  }

  if (HAL_TIM_OC_Init(&htim5) != HAL_OK)
  {
    _Error_Handler(__FILE__, __LINE__);
  }

  sMasterConfig.MasterOutputTrigger = TIM_TRGO_RESET;
  sMasterConfig.MasterSlaveMode = TIM_MASTERSLAVEMODE_DISABLE;
  if (HAL_TIMEx_MasterConfigSynchronization(&htim5, &sMasterConfig) != HAL_OK)
  {
    _Error_Handler(__FILE__, __LINE__);
  }

  sConfigOC.OCMode = TIM_OCMODE_ACTIVE;
  sConfigOC.Pulse = 0;
  sConfigOC.OCPolarity = TIM_OCPOLARITY_HIGH;
  sConfigOC.OCFastMode = TIM_OCFAST_DISABLE;
  if (HAL_TIM_OC_ConfigChannel(&htim5, &sConfigOC, TIM_CHANNEL_1) != HAL_OK)
  {
    _Error_Handler(__FILE__, __LINE__);
  }

  sConfigOC.OCMode = TIM_OCMODE_TIMING;
  if (HAL_TIM_OC_ConfigChannel(&htim5, &sConfigOC, TIM_CHANNEL_4) != HAL_OK)
  {
    _Error_Handler(__FILE__, __LINE__);
  }

}

/* TIM6 init function */
static void MX_TIM6_Init(void)
{

  TIM_MasterConfigTypeDef sMasterConfig;

  htim6.Instance = TIM6;
  htim6.Init.Prescaler = 99;
  htim6.Init.CounterMode = TIM_COUNTERMODE_UP;
  htim6.Init.Period = 37;
  if (HAL_TIM_Base_Init(&htim6) != HAL_OK)
  {
    _Error_Handler(__FILE__, __LINE__);
  }

  sMasterConfig.MasterOutputTrigger = TIM_TRGO_UPDATE;
  sMasterConfig.MasterSlaveMode = TIM_MASTERSLAVEMODE_DISABLE;
  if (HAL_TIMEx_MasterConfigSynchronization(&htim6, &sMasterConfig) != HAL_OK)
  {
    _Error_Handler(__FILE__, __LINE__);
  }

}

/* TIM7 init function */
static void MX_TIM7_Init(void)
{

  TIM_MasterConfigTypeDef sMasterConfig;

  htim7.Instance = TIM7;
  htim7.Init.Prescaler = 1999;
  htim7.Init.CounterMode = TIM_COUNTERMODE_UP;
  htim7.Init.Period = 8399;
  if (HAL_TIM_Base_Init(&htim7) != HAL_OK)
  {
    _Error_Handler(__FILE__, __LINE__);
  }

  sMasterConfig.MasterOutputTrigger = TIM_TRGO_UPDATE;
  sMasterConfig.MasterSlaveMode = TIM_MASTERSLAVEMODE_DISABLE;
  if (HAL_TIMEx_MasterConfigSynchronization(&htim7, &sMasterConfig) != HAL_OK)
  {
    _Error_Handler(__FILE__, __LINE__);
  }

}

/* TIM10 init function */
static void MX_TIM10_Init(void)
{

  TIM_OC_InitTypeDef sConfigOC;

  htim10.Instance = TIM10;
  htim10.Init.Prescaler = 1999;
  htim10.Init.CounterMode = TIM_COUNTERMODE_UP;
  htim10.Init.Period = 20999;
  htim10.Init.ClockDivision = TIM_CLOCKDIVISION_DIV1;
  if (HAL_TIM_Base_Init(&htim10) != HAL_OK)
  {
    _Error_Handler(__FILE__, __LINE__);
  }

  if (HAL_TIM_OC_Init(&htim10) != HAL_OK)
  {
    _Error_Handler(__FILE__, __LINE__);
  }

  sConfigOC.OCMode = TIM_OCMODE_TIMING;
  sConfigOC.Pulse = 0;
  sConfigOC.OCPolarity = TIM_OCPOLARITY_HIGH;
  sConfigOC.OCFastMode = TIM_OCFAST_DISABLE;
  if (HAL_TIM_OC_ConfigChannel(&htim10, &sConfigOC, TIM_CHANNEL_1) != HAL_OK)
  {
    _Error_Handler(__FILE__, __LINE__);
  }

}

/* UART4 init function */
static void MX_UART4_Init(void)
{

  huart4.Instance = UART4;
  huart4.Init.BaudRate = 9600;
  huart4.Init.WordLength = UART_WORDLENGTH_8B;
  huart4.Init.StopBits = UART_STOPBITS_1;
  huart4.Init.Parity = UART_PARITY_NONE;
  huart4.Init.Mode = UART_MODE_TX_RX;
  huart4.Init.HwFlowCtl = UART_HWCONTROL_NONE;
  huart4.Init.OverSampling = UART_OVERSAMPLING_16;
  if (HAL_UART_Init(&huart4) != HAL_OK)
  {
    _Error_Handler(__FILE__, __LINE__);
  }

}

/** Configure pins as
        * Analog
        * Input
        * Output
        * EVENT_OUT
        * EXTI
     PC3   ------> I2S2_SD
     PA5   ------> SPI1_SCK
     PA6   ------> SPI1_MISO
     PA7   ------> SPI1_MOSI
     PB10   ------> I2S2_CK
     PC7   ------> I2S3_MCK
     PA10   ------> USB_OTG_FS_ID
     PA11   ------> USB_OTG_FS_DM
     PA12   ------> USB_OTG_FS_DP
     PC12   ------> UART5_TX
*/
static void MX_GPIO_Init(void)
{

  GPIO_InitTypeDef GPIO_InitStruct;

  /* GPIO Ports Clock Enable */
  __HAL_RCC_GPIOE_CLK_ENABLE();
  __HAL_RCC_GPIOC_CLK_ENABLE();
  __HAL_RCC_GPIOH_CLK_ENABLE();
  __HAL_RCC_GPIOA_CLK_ENABLE();
  __HAL_RCC_GPIOB_CLK_ENABLE();
  __HAL_RCC_GPIOD_CLK_ENABLE();

  /*Configure GPIO pin Output Level */
  HAL_GPIO_WritePin(CS_I2C_SPI_GPIO_Port, CS_I2C_SPI_Pin, GPIO_PIN_RESET);

  /*Configure GPIO pin Output Level */
  HAL_GPIO_WritePin(OTG_FS_PowerSwitchOn_GPIO_Port, OTG_FS_PowerSwitchOn_Pin, GPIO_PIN_SET);

  /*Configure GPIO pin Output Level */
  HAL_GPIO_WritePin(Audio_RST_GPIO_Port, Audio_RST_Pin, GPIO_PIN_RESET);

  /*Configure GPIO pin : CS_I2C_SPI_Pin */
  GPIO_InitStruct.Pin = CS_I2C_SPI_Pin;
  GPIO_InitStruct.Mode = GPIO_MODE_OUTPUT_PP;
  GPIO_InitStruct.Pull = GPIO_NOPULL;
  GPIO_InitStruct.Speed = GPIO_SPEED_FREQ_LOW;
  HAL_GPIO_Init(CS_I2C_SPI_GPIO_Port, &GPIO_InitStruct);

  /*Configure GPIO pin : OTG_FS_PowerSwitchOn_Pin */
  GPIO_InitStruct.Pin = OTG_FS_PowerSwitchOn_Pin;
  GPIO_InitStruct.Mode = GPIO_MODE_OUTPUT_PP;
  GPIO_InitStruct.Pull = GPIO_NOPULL;
  GPIO_InitStruct.Speed = GPIO_SPEED_FREQ_LOW;
  HAL_GPIO_Init(OTG_FS_PowerSwitchOn_GPIO_Port, &GPIO_InitStruct);

  /*Configure GPIO pin : PDM_OUT_Pin */
  GPIO_InitStruct.Pin = PDM_OUT_Pin;
  GPIO_InitStruct.Mode = GPIO_MODE_AF_PP;
  GPIO_InitStruct.Pull = GPIO_NOPULL;
  GPIO_InitStruct.Speed = GPIO_SPEED_FREQ_LOW;
  GPIO_InitStruct.Alternate = GPIO_AF5_SPI2;
  HAL_GPIO_Init(PDM_OUT_GPIO_Port, &GPIO_InitStruct);

  /*Configure GPIO pins : SPI1_SCK_Pin SPI1_MISO_Pin SPI1_MOSI_Pin */
  GPIO_InitStruct.Pin = SPI1_SCK_Pin|SPI1_MISO_Pin|SPI1_MOSI_Pin;
  GPIO_InitStruct.Mode = GPIO_MODE_AF_PP;
  GPIO_InitStruct.Pull = GPIO_NOPULL;
  GPIO_InitStruct.Speed = GPIO_SPEED_FREQ_LOW;
  GPIO_InitStruct.Alternate = GPIO_AF5_SPI1;
  HAL_GPIO_Init(GPIOA, &GPIO_InitStruct);

  /*Configure GPIO pin : BOOT1_Pin */
  GPIO_InitStruct.Pin = BOOT1_Pin;
  GPIO_InitStruct.Mode = GPIO_MODE_INPUT;
  GPIO_InitStruct.Pull = GPIO_NOPULL;
  HAL_GPIO_Init(BOOT1_GPIO_Port, &GPIO_InitStruct);

  /*Configure GPIO pin : CLK_IN_Pin */
  GPIO_InitStruct.Pin = CLK_IN_Pin;
  GPIO_InitStruct.Mode = GPIO_MODE_AF_PP;
  GPIO_InitStruct.Pull = GPIO_NOPULL;
  GPIO_InitStruct.Speed = GPIO_SPEED_FREQ_LOW;
  GPIO_InitStruct.Alternate = GPIO_AF5_SPI2;
  HAL_GPIO_Init(CLK_IN_GPIO_Port, &GPIO_InitStruct);

  /*Configure GPIO pin : I2S3_MCK_Pin */
  GPIO_InitStruct.Pin = I2S3_MCK_Pin;
  GPIO_InitStruct.Mode = GPIO_MODE_AF_PP;
  GPIO_InitStruct.Pull = GPIO_NOPULL;
  GPIO_InitStruct.Speed = GPIO_SPEED_FREQ_LOW;
  GPIO_InitStruct.Alternate = GPIO_AF6_SPI3;
  HAL_GPIO_Init(I2S3_MCK_GPIO_Port, &GPIO_InitStruct);

  /*Configure GPIO pin : PA8 */
  GPIO_InitStruct.Pin = GPIO_PIN_8;
  GPIO_InitStruct.Mode = GPIO_MODE_INPUT;
  GPIO_InitStruct.Pull = GPIO_PULLDOWN;
  HAL_GPIO_Init(GPIOA, &GPIO_InitStruct);

  /*Configure GPIO pin : PA9 */
  GPIO_InitStruct.Pin = GPIO_PIN_9;
  GPIO_InitStruct.Mode = GPIO_MODE_INPUT;
  GPIO_InitStruct.Pull = GPIO_NOPULL;
  HAL_GPIO_Init(GPIOA, &GPIO_InitStruct);

  /*Configure GPIO pins : OTG_FS_ID_Pin OTG_FS_DM_Pin OTG_FS_DP_Pin */
  GPIO_InitStruct.Pin = OTG_FS_ID_Pin|OTG_FS_DM_Pin|OTG_FS_DP_Pin;
  GPIO_InitStruct.Mode = GPIO_MODE_AF_PP;
  GPIO_InitStruct.Pull = GPIO_NOPULL;
  GPIO_InitStruct.Speed = GPIO_SPEED_FREQ_LOW;
  GPIO_InitStruct.Alternate = GPIO_AF10_OTG_FS;
  HAL_GPIO_Init(GPIOA, &GPIO_InitStruct);

  /*Configure GPIO pin : PC12 */
  GPIO_InitStruct.Pin = GPIO_PIN_12;
  GPIO_InitStruct.Mode = GPIO_MODE_AF_PP;
  GPIO_InitStruct.Pull = GPIO_NOPULL;
  GPIO_InitStruct.Speed = GPIO_SPEED_FREQ_VERY_HIGH;
  GPIO_InitStruct.Alternate = GPIO_AF8_UART5;
  HAL_GPIO_Init(GPIOC, &GPIO_InitStruct);

  /*Configure GPIO pin : Audio_RST_Pin */
  GPIO_InitStruct.Pin = Audio_RST_Pin;
  GPIO_InitStruct.Mode = GPIO_MODE_OUTPUT_PP;
  GPIO_InitStruct.Pull = GPIO_NOPULL;
  GPIO_InitStruct.Speed = GPIO_SPEED_FREQ_LOW;
  HAL_GPIO_Init(Audio_RST_GPIO_Port, &GPIO_InitStruct);

  /*Configure GPIO pin : OTG_FS_OverCurrent_Pin */
  GPIO_InitStruct.Pin = OTG_FS_OverCurrent_Pin;
  GPIO_InitStruct.Mode = GPIO_MODE_INPUT;
  GPIO_InitStruct.Pull = GPIO_NOPULL;
  HAL_GPIO_Init(OTG_FS_OverCurrent_GPIO_Port, &GPIO_InitStruct);

  /*Configure GPIO pins : LEFT_sensor_Pin RIGHT_sensor_Pin */
  GPIO_InitStruct.Pin = LEFT_sensor_Pin|RIGHT_sensor_Pin;
  GPIO_InitStruct.Mode = GPIO_MODE_IT_FALLING;
  GPIO_InitStruct.Pull = GPIO_PULLUP;
  HAL_GPIO_Init(GPIOB, &GPIO_InitStruct);

  /*Configure GPIO pins : FRONTsensor_Pin BACK_sensor_Pin */
  GPIO_InitStruct.Pin = FRONTsensor_Pin|BACK_sensor_Pin;
  GPIO_InitStruct.Mode = GPIO_MODE_IT_FALLING;
  GPIO_InitStruct.Pull = GPIO_PULLUP;
  HAL_GPIO_Init(GPIOE, &GPIO_InitStruct);

}

void _Error_Handler(char * file, int line)
{
  while(1)
  {
  }
}

/************************ (C) COPYRIGHT STMicroelectronics *****END OF FILE****/
